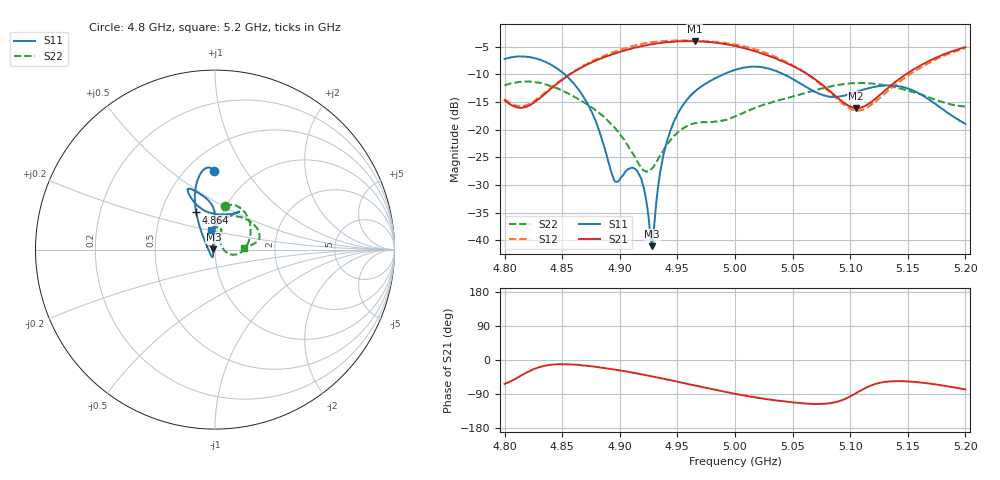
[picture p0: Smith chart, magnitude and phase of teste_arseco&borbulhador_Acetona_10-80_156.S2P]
! Network Analyzer HP8722D
! Hewlett-Packard
! Data name: Linha & Wilkinson
! Saver's name: Rodrigo Anjos
! Comments: Teste da utilização de aquisição
! continua pelo VNA HP8722D
! Time and date: 25/4/2025 16:34
!  Frequency  S11  S21  S12  S22
# HZ  S  MA R 50
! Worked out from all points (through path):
!   401 points, 4.8 GHz to 5.2 GHz, reference 50 ohm
!   highest |S21| = -3.98 dB at 4.965 GHz (marker M1); lowest = -16.1 dB at 5.105 GHz (marker M2)
!   lowest |S11| = -41.1 dB at 4.928 GHz (marker M3), VSWR 1.02, Z = 49.1 + j0.07 ohm
!   |S11| at or under -10 dB: 4.852 GHz to 4.99 GHz (138.2 MHz wide, 2.81 % of centre); 5.042 GHz to end of sweep
!   |S22| runs from -27.7 to -11.3 dB; largest |S21 - S12| = 1.2
!   S11 on the Smith chart (normalised r, x): 4.8 GHz: 0.68, +0.73; 4.864 GHz: 0.75, +0.33; 5.2 GHz: 0.93, +0.21
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4.8e9  0.4358 90.6  0.1841 -63.0  0.1892 70.3  0.2506 76.7
4.82e9  0.4531 96.9  0.1624 -31.6  0.1678 99.2  0.2713 61.1
4.844e9  0.3656 106.9  0.2521 -11.5  0.2557 119.3  0.238 35.3
4.864e9  0.232 116.9  0.3515 -12.8  0.3552 120.8  0.1883 11.7
4.867e9  0.2089 118.7  0.3651 -14.1  0.3691 120.4  0.1812 8.3
4.88e9  0.1125 129.4  0.4238 -18.6  0.435 118.1  0.1472 -5.6
4.895e9  0.03485 -174.8  0.4857 -25.1  0.5041 113.5  0.1059 -15.8
4.91e9  0.04507 -109.3  0.54 -32.6  0.5657 106.9  0.06333 -12.8
4.917e9  0.03882 -107.0  0.562 -36.8  0.5904 103.2  0.04753 0.5
4.921e9  0.02923 -111.4  0.5742 -38.9  0.6022 101.0  0.04234 13.9
4.928e9  0.008823 175.4  0.5898 -43.1  0.6177 96.8  0.04459 42.6
4.934e9  0.03449 102.6  0.6039 -47.0  0.6289 93.0  0.05607 58.7
4.939e9  0.06545 94.1  0.6139 -50.0  0.6334 89.6  0.06811 65.5
4.946e9  0.1115 90.4  0.623 -54.7  0.6384 85.3  0.08555 69.9
4.965e9  0.22 91.1  0.6324 -67.3  0.6353 73.0  0.114 71.3
5e9  0.3468 109.0  0.5706 -89.4  0.589 50.5  0.1313 88.1
5.03e9  0.3542 115.1  0.4617 -104.2  0.4768 33.6  0.1735 85.1
5.067e9  0.2258 105.3  0.2978 -115.7  0.2948 23.6  0.2217 56.8
5.105e9  0.2188 65.4  0.1562 -87.6  0.1488 55.3  0.2624 25.3
5.134e9  0.2507 57.5  0.2433 -56.6  0.229 88.7  0.2475 12.2
5.169e9  0.1854 70.2  0.42 -62.3  0.4042 84.6  0.1945 6.9
5.2e9  0.1123 101.3  0.5561 -77.8  0.5456 69.9  0.1614 3.6
